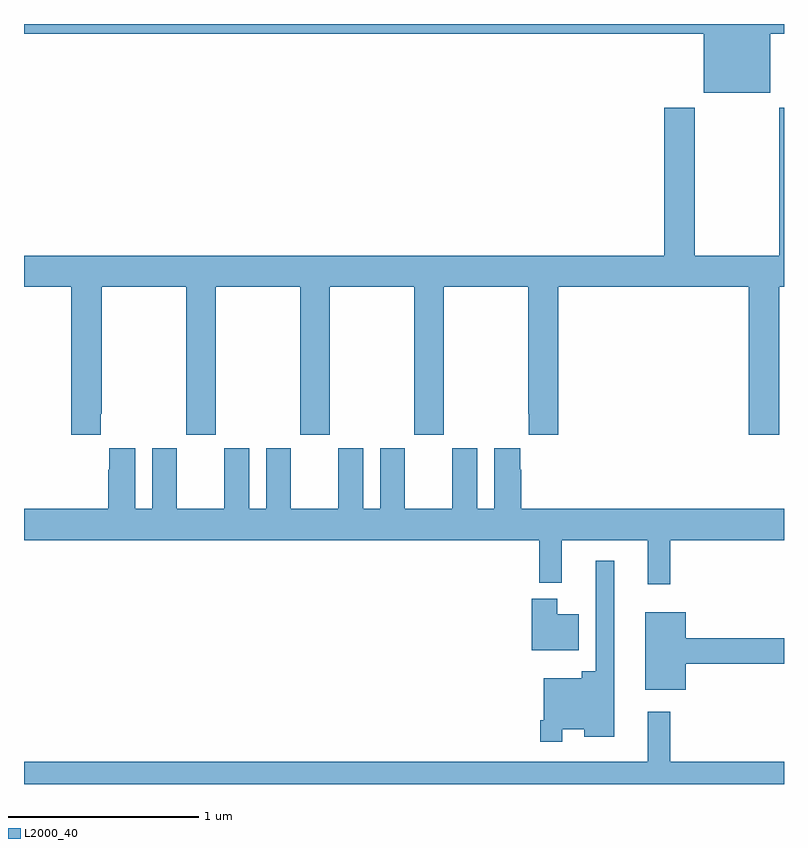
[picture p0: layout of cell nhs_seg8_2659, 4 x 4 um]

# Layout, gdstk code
import gdstk
lib = gdstk.Library(unit=1e-6, precision=1e-09)
def P(c, l, *ps):  # polygons
    for p in ps: c.add(gdstk.Polygon(p, *l))
L2000_40 = (2000, 40)

nhs_seg8_2659 = lib.new_cell('nhs_seg8_2659')
P(nhs_seg8_2659, L2000_40, [(282.928,1101.848),(283,1101.848),(283,1101.9),(279,1101.9),(279,1101.848),(282.578,1101.848),(282.578,1101.539),(282.928,1101.539)],
  [(279.403,1099.849),(279.408,1099.849),(279.408,1100.516),(279.853,1100.516),(279.853,1099.737),(280.008,1099.737),(280.008,1100.516),(280.453,1100.516),(280.453,1099.737),(280.608,1099.737),(280.608,1100.516),(281.053,1100.516),(281.053,1099.737),(281.208,1099.737),(281.208,1100.516),(281.653,1100.516),(281.653,1099.849),(281.657,1099.849),(281.657,1099.737),(281.813,1099.737),(281.813,1100.516),(282.815,1100.516),(282.815,1099.737),(282.975,1099.737),(282.975,1100.516),(283,1100.516),(283,1101.46),(282.976,1101.46),(282.976,1100.68),(282.531,1100.68),(282.531,1101.46),(282.371,1101.46),(282.371,1100.68),(279,1100.68),(279,1100.516),(279.248,1100.516),(279.248,1099.737),(279.403,1099.737)],
  [(282.401,1099.184),(283,1099.184),(283,1099.348),(281.618,1099.348),(281.618,1099.553),(281.611,1099.553),(281.611,1099.666),(281.474,1099.666),(281.474,1099.348),(281.386,1099.348),(281.386,1099.666),(281.255,1099.666),(281.255,1099.348),(281.005,1099.348),(281.005,1099.666),(280.874,1099.666),(280.874,1099.348),(280.786,1099.348),(280.786,1099.666),(280.655,1099.666),(280.655,1099.348),(280.405,1099.348),(280.405,1099.666),(280.274,1099.666),(280.274,1099.348),(280.186,1099.348),(280.186,1099.666),(280.055,1099.666),(280.055,1099.348),(279.805,1099.348),(279.805,1099.666),(279.674,1099.666),(279.674,1099.348),(279.586,1099.348),(279.586,1099.666),(279.449,1099.666),(279.449,1099.553),(279.443,1099.553),(279.443,1099.348),(279,1099.348),(279,1099.184),(281.713,1099.184),(281.713,1098.959),(281.831,1098.959),(281.831,1099.184),(282.284,1099.184),(282.284,1098.951),(282.401,1098.951)],
  [(281.832,1098.188),(281.948,1098.188),(281.948,1098.149),(282.106,1098.149),(282.106,1099.075),(282.009,1099.075),(282.009,1098.493),(281.936,1098.493),(281.936,1098.457),(281.736,1098.457),(281.736,1098.235),(281.716,1098.235),(281.716,1098.123),(281.832,1098.123)],
  [(281.92,1098.793),(281.806,1098.793),(281.806,1098.874),(281.672,1098.874),(281.672,1098.605),(281.92,1098.605)],
  [(282.484,1098.532),(283,1098.532),(283,1098.668),(282.484,1098.668),(282.484,1098.805),(282.269,1098.805),(282.269,1098.395),(282.484,1098.395)],
  [(283,1098.016),(282.401,1098.016),(282.401,1098.28),(282.284,1098.28),(282.284,1098.016),(279,1098.016),(279,1097.9),(283,1097.9)])

lib.write_gds('nhs_seg8_2659.gds')
